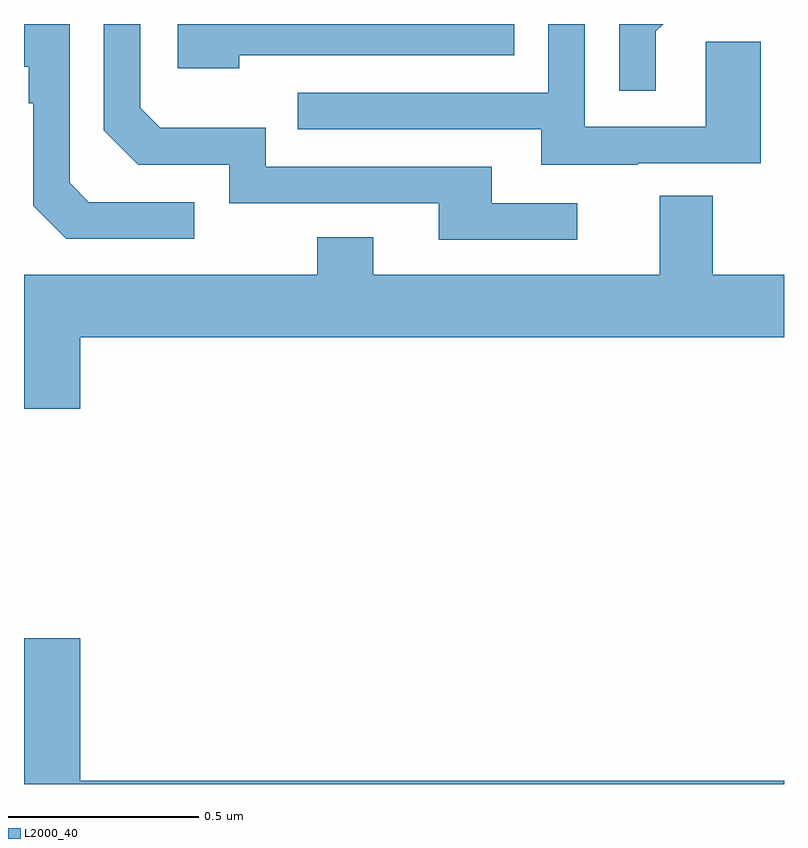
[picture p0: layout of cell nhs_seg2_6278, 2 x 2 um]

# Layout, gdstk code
import gdstk
lib = gdstk.Library(unit=1e-6, precision=1e-09)
def P(c, l, *ps):  # polygons
    for p in ps: c.add(gdstk.Polygon(p, *l))
L2000_40 = (2000, 40)

nhs_seg2_6278 = lib.new_cell('nhs_seg2_6278')
P(nhs_seg2_6278, L2000_40, [(189.566,641.718),(190.29,641.718),(190.29,641.8),(189.405,641.8),(189.405,641.684),(189.566,641.684)],
  [(190.456,641.328),(190.231,641.328),(190.231,641.424),(189.636,641.424),(189.636,641.527),(189.359,641.527),(189.306,641.58),(189.306,641.8),(189.21,641.8),(189.21,641.52),(189.3,641.43),(189.54,641.43),(189.54,641.328),(190.091,641.328),(190.091,641.232),(190.456,641.232)],
  [(190.663,641.781),(190.682,641.8),(190.566,641.8),(190.566,641.625),(190.663,641.625)],
  [(189.448,641.331),(189.171,641.331),(189.12,641.382),(189.12,641.8),(189,641.8),(189,641.687),(189.012,641.687),(189.012,641.591),(189.024,641.591),(189.024,641.322),(189.111,641.235),(189.448,641.235)],
  [(190.615,641.433),(190.939,641.433),(190.939,641.753),(190.794,641.753),(190.794,641.529),(190.476,641.529),(190.476,641.8),(190.38,641.8),(190.38,641.619),(189.721,641.619),(189.721,641.523),(190.361,641.523),(190.361,641.429),(190.615,641.429)],
  [(189.148,640.976),(191,640.976),(191,641.14),(190.813,641.14),(190.813,641.348),(190.673,641.348),(190.673,641.14),(189.919,641.14),(189.919,641.239),(189.772,641.239),(189.772,641.14),(189,641.14),(189,640.788),(189.148,640.788)],
  [(191,639.808),(189.148,639.808),(189.148,640.183),(189,640.183),(189,639.8),(191,639.8)])

lib.write_gds('nhs_seg2_6278.gds')
